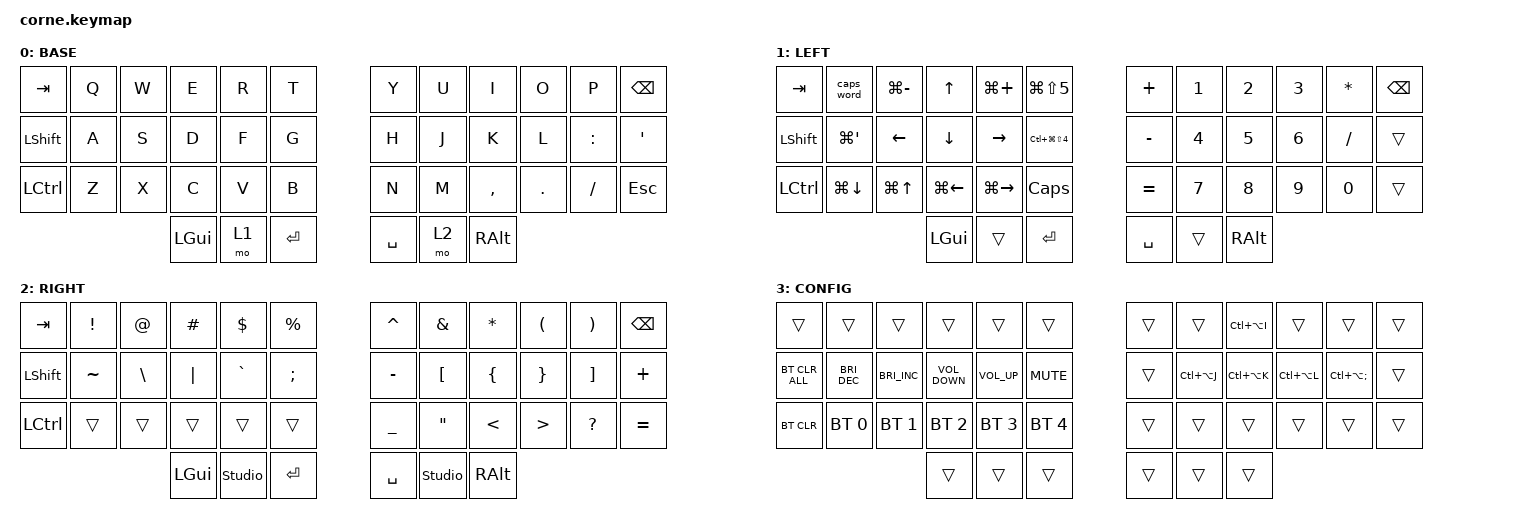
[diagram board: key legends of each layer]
/*
 * Copyright (c) 2020 The ZMK Contributors
 *
 * SPDX-License-Identifier: MIT
 */

#include <dt-bindings/led/led.h>
#include <dt-bindings/zmk/reset.h>
#include <behaviors.dtsi>
#include <dt-bindings/zmk/bt.h>
#include <dt-bindings/zmk/keys.h>

&led_strip { chain-length = <27>; };

/ {
    combos {
        compatible = "zmk,combos";

        as {
            bindings = <&kp A>;
            key-positions = <13 15 37 27>;
        };
    };

    keymap {
        compatible = "zmk,keymap";

        default_layer {
            display-name = "BASE";

            // -----------------------------------------------------------------------------------------
            // |  TAB |  Q  |  W  |  E  |  R  |  T  |   |  Y  |  U   |  I  |  O  |  P  | BKSP |
            // | CTRL |  A  |  S  |  D  |  F  |  G  |   |  H  |  J   |  K  |  L  |  ;  |  '   |
            // | SHFT |  Z  |  X  |  C  |  V  |  B  |   |  N  |  M   |  ,  |  .  |  /  | ESC  |
            //                    | GUI | LWR | SPC |   | ENT | RSE  | ALT |

            bindings = <
&kp TAB    &kp Q  &kp W  &kp E     &kp R  &kp T        &kp Y      &kp U  &kp I      &kp O    &kp P      &kp BSPC
&kp LSHFT  &kp A  &kp S  &kp D     &kp F  &kp G        &kp H      &kp J  &kp K      &kp L    &kp COLON  &kp SQT
&kp LCTRL  &kp Z  &kp X  &kp C     &kp V  &kp B        &kp N      &kp M  &kp COMMA  &kp DOT  &kp FSLH   &kp ESC
                         &kp LGUI  &mo 1  &kp ENTER    &kp SPACE  &mo 2  &kp RALT
            >;
        };

        lower_layer {
            display-name = "LEFT";

            // -----------------------------------------------------------------------------------------
            // |  TAB |  1  |  2  |  3  |  4  |  5  |   |  6  |  7  |  8  |  9  |  0  | BKSP |
            // | BTCLR| BT1 | BT2 | BT3 | BT4 | BT5 |   | LFT | DWN |  UP | RGT |     |      |
            // | SHFT |     |     |     |     |     |   |     |     |     |     |     |      |
            //                    | GUI |     | SPC |   | ENT |     | ALT |

            bindings = <
&kp TAB    &caps_word            &kp LG(MINUS)     &kp UP              &kp LG(PLUS)         &kp LG(LS(N5))              &kp PLUS   &kp NUMBER_1  &kp NUMBER_2  &kp NUMBER_3  &kp ASTERISK  &kp BSPC
&kp LSHFT  &kp LG(SINGLE_QUOTE)  &kp LEFT          &kp DOWN            &kp RIGHT            &kp LC(LG(LS(NUMBER_4)))    &kp MINUS  &kp NUMBER_4  &kp N5        &kp NUMBER_6  &kp SLASH     &trans
&kp LCTRL  &kp LG(DOWN_ARROW)    &kp LG(UP_ARROW)  &kp LG(LEFT_ARROW)  &kp LG(RIGHT_ARROW)  &kp CAPS                    &kp EQUAL  &kp N7        &kp N8        &kp N9        &kp N0        &trans
                                                   &kp LGUI            &trans               &kp ENTER                   &kp SPACE  &trans        &kp RALT
            >;
        };

        raise_layer {
            display-name = "RIGHT";

            // -----------------------------------------------------------------------------------------
            // |  TAB |  !  |  @  |  #  |  $  |  %  |   |  ^  |  &  |  *  |  (  |  )  | BKSP |
            // | CTRL |     |     |     |     |     |   |  -  |  =  |  [  |  ]  |  \  |  `   |
            // | SHFT |     |     |     |     |     |   |  _  |  +  |  {  |  }  | "|" |  ~   |
            //                    | GUI |     | SPC |   | ENT |     | ALT |

            bindings = <
&kp TAB    &kp EXCL   &kp AT         &kp HASH  &kp DLLR        &kp PRCNT        &kp CARET  &kp AMPS           &kp ASTERISK    &kp LPAR          &kp RPAR           &kp BSPC
&kp LSHFT  &kp TILDE  &kp BACKSLASH  &kp PIPE  &kp GRAVE       &kp SEMICOLON    &kp MINUS  &kp LEFT_BRACKET   &kp LEFT_BRACE  &kp RIGHT_BRACE   &kp RIGHT_BRACKET  &kp PLUS
&kp LCTRL  &trans     &trans         &trans    &trans          &trans           &kp UNDER  &kp DOUBLE_QUOTES  &kp LESS_THAN   &kp GREATER_THAN  &kp QUESTION       &kp EQUAL
                                     &kp LGUI  &studio_unlock  &kp ENTER        &kp SPACE  &studio_unlock     &kp RALT
            >;
        };

        layer_3 {
            bindings = <
&trans          &trans         &trans                &trans             &trans           &trans          &trans  &trans         &kp LC(LA(I))  &trans         &trans                 &trans
&bt BT_CLR_ALL  &kp C_BRI_DEC  &kp C_BRIGHTNESS_INC  &kp C_VOLUME_DOWN  &kp C_VOLUME_UP  &kp C_MUTE      &trans  &kp LC(LA(J))  &kp LC(LA(K))  &kp LC(LA(L))  &kp LC(LA(SEMICOLON))  &trans
&bt BT_CLR      &bt BT_SEL 0   &bt BT_SEL 1          &bt BT_SEL 2       &bt BT_SEL 3     &bt BT_SEL 4    &trans  &trans         &trans         &trans         &trans                 &trans
                                                     &trans             &trans           &trans          &trans  &trans         &trans
            >;

            label = "CONFIG";
        };
    };

    conditional_layers {
        compatible = "zmk,conditional-layers";

        config_layer {
            if-layers = <1 2>;
            then-layer = <3>;
        };
    };
};
